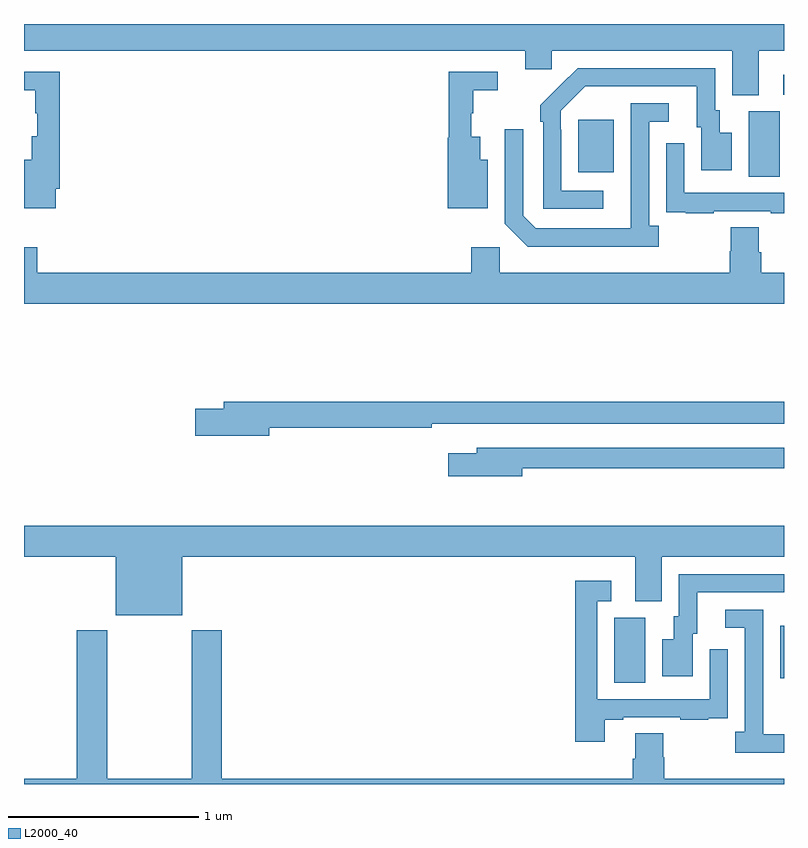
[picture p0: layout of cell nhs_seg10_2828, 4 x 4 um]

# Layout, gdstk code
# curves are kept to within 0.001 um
import gdstk
lib = gdstk.Library(unit=1e-6, precision=1e-09)
def R(c, l, rs):  # rectangles x0, y0, x1, y1
    for r in rs: c.add(gdstk.rectangle(r[:2], r[2:], *l))
def P(c, l, *ps):  # polygons
    for p in ps: c.add(gdstk.Polygon(p, *l))
L2000_40 = (2000, 40)

nhs_seg10_2828 = lib.new_cell('nhs_seg10_2828')
R(nhs_seg10_2828, L2000_40, [(268.106,1253.032,268.27,1253.376), (268.979,1253.057,269,1253.332), (268.814,1255.696,268.978,1256.04), (267.917,1255.721,268.105,1255.996), (268.995,1256.127,269,1256.233)])
P(nhs_seg10_2828, L2000_40, [(268.867,1256.36),(269,1256.36),(269,1256.5),(265,1256.5),(265,1256.36),(267.638,1256.36),(267.638,1256.262),(267.777,1256.262),(267.777,1256.36),(268.727,1256.36),(268.727,1256.125),(268.867,1256.125)],
  [(268.048,1255.623),(267.828,1255.623),(267.828,1255.943),(267.825,1255.943),(267.825,1256.043),(267.954,1256.172),(268.541,1256.172),(268.541,1255.956),(268.565,1255.956),(268.565,1255.731),(268.726,1255.731),(268.726,1255.927),(268.663,1255.927),(268.663,1256.046),(268.638,1256.046),(268.638,1256.268),(267.914,1256.268),(267.717,1256.073),(267.717,1255.985),(267.732,1255.985),(267.732,1255.527),(268.048,1255.527)],
  [(267.442,1255.786),(267.4,1255.786),(267.4,1255.906),(267.353,1255.906),(267.353,1256.03),(267.364,1256.03),(267.364,1256.152),(267.493,1256.152),(267.493,1256.25),(267.235,1256.25),(267.235,1255.902),(267.23,1255.902),(267.23,1255.529),(267.442,1255.529)],
  [(265.168,1255.633),(265.187,1255.633),(265.187,1256.25),(265,1256.25),(265,1256.152),(265.059,1256.152),(265.059,1256.031),(265.07,1256.031),(265.07,1255.909),(265.04,1255.909),(265.04,1255.786),(265,1255.786),(265,1255.529),(265.168,1255.529)],
  [(268.342,1255.438),(268.29,1255.438),(268.29,1255.986),(268.393,1255.986),(268.393,1256.082),(268.194,1256.082),(268.193,1255.425),(267.693,1255.425),(267.627,1255.491),(267.627,1255.945),(267.531,1255.945),(267.531,1255.449),(267.652,1255.328),(268.342,1255.328)],
  [(268.631,1255.515),(268.931,1255.515),(268.931,1255.503),(269,1255.503),(269,1255.611),(268.476,1255.611),(268.476,1255.873),(268.38,1255.873),(268.38,1255.618),(268.381,1255.618),(268.381,1255.509),(268.483,1255.509),(268.483,1255.503),(268.631,1255.503)],
  [(269,1255.192),(268.88,1255.192),(268.88,1255.298),(268.867,1255.298),(268.867,1255.43),(268.72,1255.43),(268.72,1255.305),(268.715,1255.305),(268.715,1255.192),(267.504,1255.192),(267.504,1255.324),(267.353,1255.324),(267.353,1255.192),(265.07,1255.192),(265.07,1255.324),(265,1255.324),(265,1255.028),(269,1255.028)],
  [(266.29,1254.376),(267.146,1254.376),(267.146,1254.396),(269,1254.396),(269,1254.512),(266.051,1254.512),(266.051,1254.476),(265.902,1254.476),(265.902,1254.334),(266.29,1254.334)],
  [(267.622,1254.162),(269,1254.162),(269,1254.27),(267.383,1254.27),(267.383,1254.241),(267.234,1254.241),(267.234,1254.119),(267.622,1254.119)],
  [(265.834,1253.696),(268.217,1253.696),(268.217,1253.461),(268.357,1253.461),(268.357,1253.696),(269,1253.696),(269,1253.86),(265,1253.86),(265,1253.696),(265.484,1253.696),(265.484,1253.387),(265.834,1253.387)],
  [(268.519,1253.292),(268.543,1253.292),(268.543,1253.508),(269,1253.508),(269,1253.604),(268.446,1253.604),(268.446,1253.382),(268.421,1253.382),(268.421,1253.263),(268.358,1253.263),(268.358,1253.067),(268.519,1253.067)],
  [(268.057,1252.839),(268.153,1252.839),(268.153,1252.851),(268.453,1252.851),(268.453,1252.839),(268.601,1252.839),(268.601,1252.845),(268.703,1252.845),(268.703,1252.954),(268.704,1252.954),(268.704,1253.209),(268.608,1253.209),(268.608,1252.947),(268.017,1252.947),(268.017,1253.463),(268.09,1253.463),(268.09,1253.569),(267.901,1253.569),(267.901,1252.722),(268.057,1252.722)],
  [(269,1252.761),(268.891,1252.761),(268.891,1252.961),(268.89,1252.961),(268.89,1253.418),(268.692,1253.418),(268.692,1253.322),(268.794,1253.322),(268.794,1252.774),(268.743,1252.774),(268.743,1252.664),(269,1252.664)],
  [(269,1252.528),(268.37,1252.528),(268.37,1252.641),(268.365,1252.641),(268.365,1252.766),(268.217,1252.766),(268.217,1252.634),(268.205,1252.634),(268.205,1252.528),(266.042,1252.528),(266.042,1253.308),(265.882,1253.308),(265.882,1252.528),(265.437,1252.528),(265.437,1253.308),(265.277,1253.308),(265.277,1252.528),(265,1252.528),(265,1252.5),(269,1252.5)])

lib.write_gds('nhs_seg10_2828.gds')
